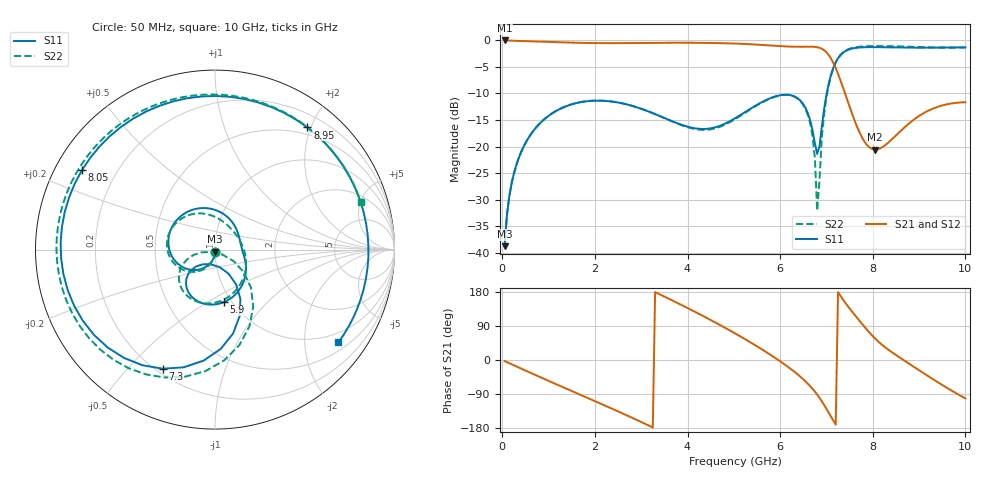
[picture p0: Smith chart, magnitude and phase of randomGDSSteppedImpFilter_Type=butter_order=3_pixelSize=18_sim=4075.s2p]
! freq	dB(S11)	phase(S11)	dB(S12)	phase(S12)
!  dB(S21)	phase(S21)	dB(S22)	phase(S22)
!S-par simulation data
#  GHz  S  DB  R 50
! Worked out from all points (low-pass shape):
!   200 points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, 50 MHz to 10 GHz, reference 50 ohm
!   highest |S21| = -0.02 dB at 50 MHz (marker M1); lowest = -20.6 dB at 8.05 GHz (marker M2)
!   |S21| within 3 dB of the highest: start of sweep to 7.068 GHz
!   lowest |S11| = -38.8 dB at 50 MHz (marker M3), VSWR 1.02, Z = 50.1 - j1.15 ohm
!   |S11| at or under -10 dB: start of sweep to 7.005 GHz
!   |S22| runs from -38.8 to -1.1 dB; largest |S21 - S12| = 0
!   S11 on the Smith chart (normalised r, x): 50 MHz: 1.00, -0.02; 5.9 GHz: 0.92, -0.59; 7.3 GHz: 0.23, -0.63; 8.05 GHz: 0.08, +0.27; 8.95 GHz: 0.39, +1.95; 10 GHz: 0.71, -2.84
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0.05  -38.75 -86.8  -0.02 -2.8  -0.02 -2.8  -38.75 -86.5
0.2  -27.00 -98.0  -0.05 -11.2  -0.05 -11.2  -26.97 -97.0
0.5  -19.35 -117.7  -0.12 -27.8  -0.12 -27.8  -19.32 -115.0
1.15  -13.36 -156.1  -0.33 -63.2  -0.33 -63.2  -13.33 -149.6
1.75  -11.56 169.4  -0.48 -95.2  -0.48 -95.2  -11.53 -180.0
2.7  -12.09 113.2  -0.51 -146.7  -0.51 -146.7  -12.07 133.0
3.4  -14.24 68.9  -0.46 173.3  -0.46 173.3  -14.26 97.2
4.35  -16.68 11.8  -0.47 115.2  -0.47 115.2  -16.85 37.4
5.05  -14.55 -24.3  -0.60 68.6  -0.60 68.6  -14.70 -20.2
5.9  -10.54 -80.7  -1.03 4.9  -1.03 4.9  -10.59 -89.8
6.45  -11.47 -126.1  -1.20 -45.5  -1.20 -45.5  -11.57 -139.4
6.7  -16.97 -138.2  -1.20 -76.2  -1.20 -76.2  -18.06 -165.7
6.8  -21.39 -106.6  -1.29 -91.5  -1.29 -91.5  -32.07 -148.4
6.9  -16.23 -60.5  -1.58 -109.0  -1.58 -109.0  -18.27 -31.7
7  -10.20 -62.7  -2.24 -128.8  -2.24 -128.8  -10.69 -46.7
7.3  -2.80 -113.7  -7.48 169.6  -7.48 169.6  -2.77 -103.2
7.65  -1.40 -164.6  -16.03 112.9  -16.03 112.9  -1.26 -150.4
8.05  -1.28 149.1  -20.56 56.6  -20.56 56.6  -1.07 171.7
8.35  -1.31 116.4  -19.13 26.1  -19.13 26.1  -1.09 146.9
8.95  -1.38 52.9  -14.52 -23.0  -14.52 -23.0  -1.23 99.3
9.45  -1.36 5.6  -12.38 -62.1  -12.38 -62.1  -1.35 60.0
10  -1.31 -36.9  -11.64 -101.4  -11.64 -101.4  -1.37 18.2
